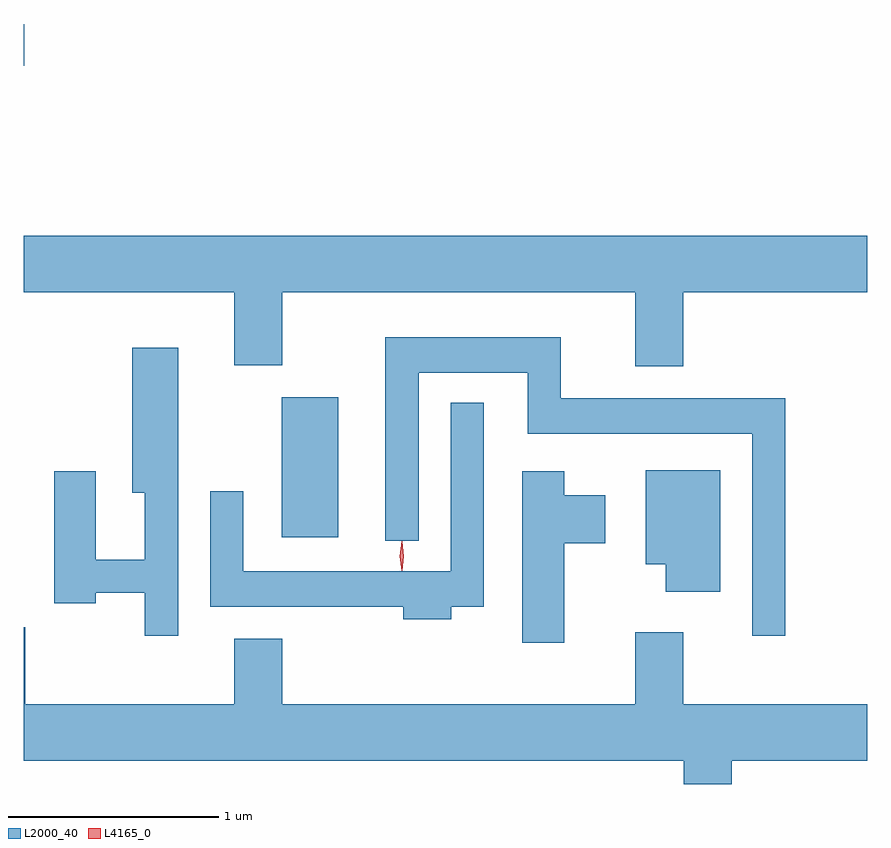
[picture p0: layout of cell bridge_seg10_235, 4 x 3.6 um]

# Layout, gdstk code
import gdstk
lib = gdstk.Library(unit=1e-6, precision=1e-09)
def R(c, l, rs):  # rectangles x0, y0, x1, y1
    for r in rs: c.add(gdstk.rectangle(r[:2], r[2:], *l))
def P(c, l, *ps):  # polygons
    for p in ps: c.add(gdstk.Polygon(p, *l))
L2000_40 = (2000, 40)
L4165_0 = (4165, 0)

bridge_seg10_235 = lib.new_cell('bridge_seg10_235')
R(bridge_seg10_235, L2000_40, [(1785.546,2099.436,1785.814,2100.099), (1784.322,2101.671,1784.324,2101.869)])
P(bridge_seg10_235, L2000_40, [(1787.449,2100.596),(1788.322,2100.596),(1788.322,2100.864),(1784.322,2100.864),(1784.322,2100.596),(1785.321,2100.596),(1785.321,2100.251),(1785.549,2100.251),(1785.549,2100.596),(1787.221,2100.596),(1787.221,2100.246),(1787.449,2100.246)],
  [(1787.934,2100.094),(1786.869,2100.094),(1786.869,2100.384),(1786.036,2100.384),(1786.036,2099.418),(1786.194,2099.418),(1786.194,2100.216),(1786.711,2100.216),(1786.711,2099.926),(1787.776,2099.926),(1787.776,2098.968),(1787.934,2098.968)],
  [(1785.054,2100.334),(1784.836,2100.334),(1784.836,2099.646),(1784.896,2099.646),(1784.896,2099.329),(1784.664,2099.329),(1784.664,2099.749),(1784.466,2099.749),(1784.466,2099.121),(1784.664,2099.121),(1784.664,2099.171),(1784.896,2099.171),(1784.896,2098.968),(1785.054,2098.968)],
  [(1786.349,2099.106),(1786.504,2099.106),(1786.504,2100.073),(1786.346,2100.073),(1786.346,2099.274),(1785.364,2099.274),(1785.364,2099.653),(1785.206,2099.653),(1785.206,2099.106),(1786.121,2099.106),(1786.121,2099.046),(1786.349,2099.046)],
  [(1787.624,2099.754),(1787.271,2099.754),(1787.271,2099.306),(1787.366,2099.306),(1787.366,2099.176),(1787.624,2099.176)],
  [(1786.884,2099.406),(1787.079,2099.406),(1787.079,2099.634),(1786.884,2099.634),(1786.884,2099.749),(1786.686,2099.749),(1786.686,2098.936),(1786.884,2098.936)],
  [(1787.679,2098.376),(1788.322,2098.376),(1788.322,2098.644),(1787.449,2098.644),(1787.449,2098.984),(1787.221,2098.984),(1787.221,2098.644),(1785.549,2098.644),(1785.549,2098.954),(1785.321,2098.954),(1785.321,2098.644),(1784.329,2098.644),(1784.329,2099.009),(1784.322,2099.009),(1784.322,2098.376),(1787.451,2098.376),(1787.451,2098.265),(1787.679,2098.265)])
P(bridge_seg10_235, L4165_0, [(1786.114,2099.277),(1786.105,2099.346),(1786.114,2099.416),(1786.115,2099.416),(1786.116,2099.416),(1786.125,2099.346),(1786.116,2099.277),(1786.115,2099.277)],
  [(1786.114,2099.279),(1786.114,2099.28),(1786.104,2099.346),(1786.114,2099.412),(1786.114,2099.413),(1786.115,2099.412),(1786.124,2099.346),(1786.115,2099.28)])

lib.write_gds('bridge_seg10_235.gds')
